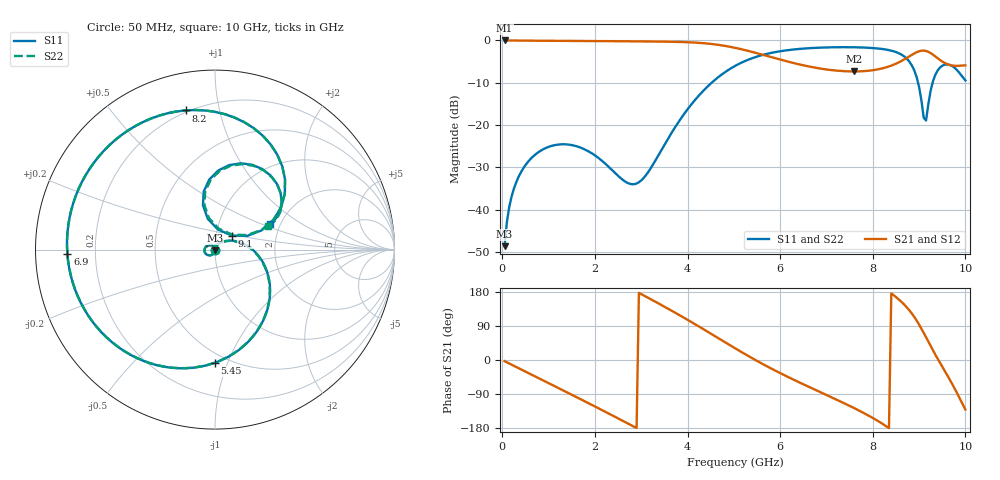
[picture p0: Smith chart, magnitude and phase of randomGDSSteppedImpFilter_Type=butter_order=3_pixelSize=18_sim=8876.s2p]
! freq	dB(S11)	phase(S11)	dB(S12)	phase(S12)
!  dB(S21)	phase(S21)	dB(S22)	phase(S22)
!S-par simulation data
#  GHz  S  DB  R 50
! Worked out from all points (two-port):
!   200 points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, 50 MHz to 10 GHz, reference 50 ohm
!   highest |S21| = -0.01 dB at 50 MHz (marker M1); lowest = -7.3 dB at 7.6 GHz (marker M2)
!   |S21| within 3 dB of the highest: start of sweep to 5.496 GHz; 8.909 GHz to 9.252 GHz (343.4 MHz wide, 3.78 % of centre)
!   lowest |S11| = -48.7 dB at 50 MHz (marker M3), VSWR 1.01, Z = 50 - j0.367 ohm
!   |S11| at or under -10 dB: start of sweep to 4.522 GHz; 8.977 GHz to 9.292 GHz (315 MHz wide, 3.45 % of centre)
!   |S22| runs from -48.7 to -1.6 dB; largest |S21 - S12| = 0
!   S11 on the Smith chart (normalised r, x): 50 MHz: 1.00, -0.01; 5.45 GHz: 0.43, -0.90; 6.9 GHz: 0.10, -0.02; 8.2 GHz: 0.19, +0.79; 9.1 GHz: 1.19, +0.19; 10 GHz: 1.75, +0.57
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0.05  -48.66 -84.6  -0.01 -3.1  -0.01 -3.1  -48.68 -84.6
0.2  -36.97 -100.4  -0.02 -12.3  -0.02 -12.3  -36.97 -100.4
0.55  -28.78 -123.7  -0.05 -33.6  -0.05 -33.6  -28.78 -123.8
1.15  -24.73 -161.3  -0.10 -70.2  -0.10 -70.2  -24.73 -161.5
1.75  -25.62 161.2  -0.14 -107.1  -0.14 -107.1  -25.62 160.8
2.8  -34.02 90.9  -0.21 -173.2  -0.21 -173.2  -33.97 87.8
3.4  -26.61 53.2  -0.27 147.5  -0.27 147.5  -26.59 51.3
4.2  -13.59 -0.0  -0.53 91.8  -0.53 91.8  -13.59 -0.7
5.05  -5.89 -61.9  -1.80 29.3  -1.80 29.3  -5.89 -62.3
5.45  -4.00 -90.1  -2.87 1.0  -2.87 1.0  -4.00 -90.4
6  -2.56 -125.8  -4.53 -34.5  -4.53 -34.5  -2.56 -126.0
6.7  -1.79 -166.9  -6.33 -75.4  -6.33 -75.4  -1.79 -167.1
6.9  -1.69 -178.2  -6.71 -86.7  -6.71 -86.7  -1.69 -178.4
7.6  -1.62 141.4  -7.34 -127.1  -7.34 -127.1  -1.62 141.2
8.2  -2.02 101.8  -6.63 -167.6  -6.63 -167.6  -2.02 101.7
8.35  -2.29 90.2  -6.15 -179.8  -6.15 -179.8  -2.29 90.0
8.8  -5.16 45.0  -3.70 129.5  -3.70 129.5  -5.15 45.1
9.1  -18.27 39.7  -2.40 71.6  -2.40 71.6  -17.89 40.6
9.25  -11.86 105.2  -2.99 36.7  -2.99 36.7  -11.80 103.4
9.45  -6.43 80.5  -4.61 -7.1  -4.61 -7.1  -6.45 79.3
9.75  -6.32 41.0  -5.98 -71.1  -5.98 -71.1  -6.40 39.7
10  -9.46 25.4  -5.89 -130.9  -5.89 -130.9  -9.75 24.2
